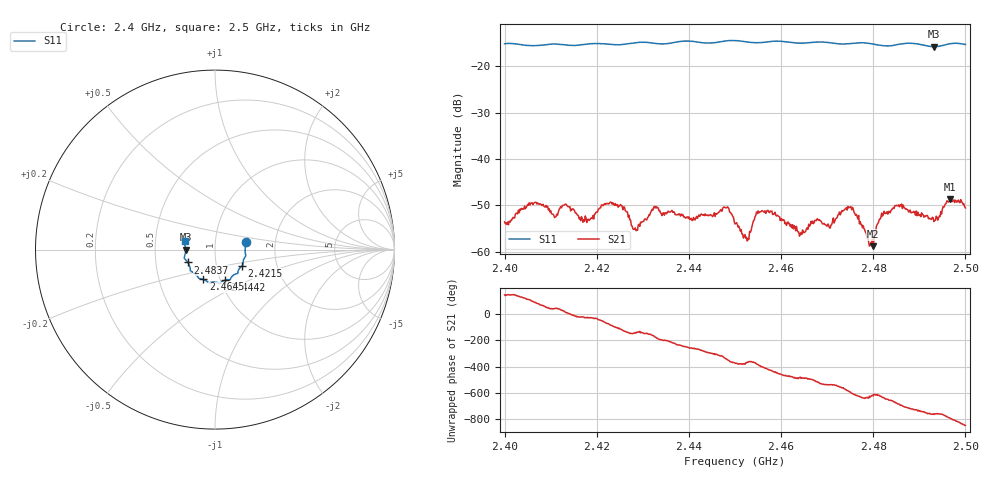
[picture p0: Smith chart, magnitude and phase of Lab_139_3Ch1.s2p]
# Hz S RI R 50
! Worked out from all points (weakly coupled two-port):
!   601 points, 2.4 GHz to 2.5 GHz, reference 50 ohm
!   highest |S21| = -48.67 dB at 2.4967 GHz (marker M1); lowest = -58.8 dB at 2.48 GHz (marker M2)
!   lowest |S11| = -15.7 dB at 2.4932 GHz (marker M3), VSWR 1.39, Z = 35.9 - j0.0591 ohm
!   |S11| at or under -10 dB: start of sweep to end of sweep
!   S12 and S22 are empty: the file has one direction only
!   S11 on the Smith chart (normalised r, x): 2.4 GHz: 1.41, +0.12; 2.4215 GHz: 1.33, -0.25; 2.4442 GHz: 1.05, -0.37; 2.4645 GHz: 0.83, -0.29; 2.4837 GHz: 0.73, -0.11; 2.5 GHz: 0.71, +0.07
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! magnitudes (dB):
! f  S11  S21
! 2.4 GHz  -15.1  -53.6
! 2.4063 GHz  -15.5  -49.5
! 2.4167 GHz  -15.3  -52.4
! 2.4215 GHz  -15.1  -49.9
! 2.4255 GHz  -15.3  -50.1
! 2.4283 GHz  -14.9  -54.9
! 2.4333 GHz  -15.1  -50.6
! 2.4442 GHz  -15.0  -52.1
! 2.448 GHz  -14.5  -50.5
! 2.45 GHz  -14.4  -54.0
! 2.4525 GHz  -14.7  -56.9
! 2.4548 GHz  -14.9  -51.8
! 2.4575 GHz  -14.6  -51.6
! 2.4645 GHz  -15.0  -56.3
! 2.4667 GHz  -14.8  -53.9
! 2.475 GHz  -15.1  -50.3
! 2.48 GHz  -15.2  -58.8
! 2.4833 GHz  -15.6  -51.3
! 2.4837 GHz  -15.5  -51.6
! 2.4932 GHz  -15.7  -53.5
! 2.4967 GHz  -15.1  -48.7
! 2.5 GHz  -15.3  -50.6
